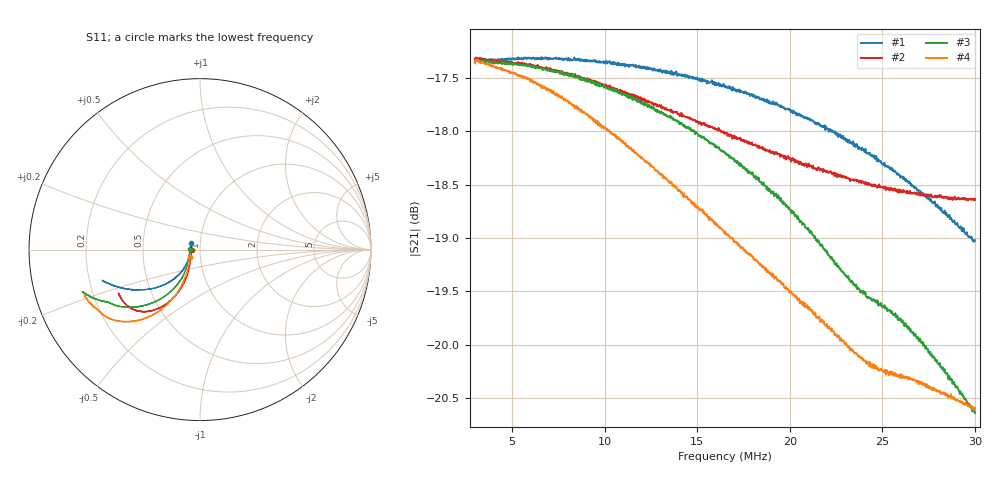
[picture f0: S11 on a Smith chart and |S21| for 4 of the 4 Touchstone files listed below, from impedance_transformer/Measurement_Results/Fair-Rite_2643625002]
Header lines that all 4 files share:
# HZ S RI R 50
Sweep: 3 MHz to 30 MHz
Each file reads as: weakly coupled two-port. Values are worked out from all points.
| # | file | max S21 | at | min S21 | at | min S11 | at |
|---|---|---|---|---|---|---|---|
| 1 | 2643625002_3p21s_2400ohm.s2p | -17.31 dB | 5.325 MHz | -19.0 dB | 29.95 MHz | -24.9 dB | 3.925 MHz |
| 2 | 2643625002_3p21s_2400ohm_100pF_on_primary.s2p | -17.31 dB | 3.026 MHz | -18.6 dB | 29.63 MHz | -26.2 dB | 3 MHz |
| 3 | 2643625002_3p21s_2400ohm_in_housing.s2p | -17.33 dB | 3.159 MHz | -20.6 dB | 30 MHz | -24.7 dB | 3 MHz |
| 4 | 2643625002_3p21s_2400ohm_in_housing_100pF.s2p | -17.33 dB | 3.159 MHz | -20.6 dB | 29.89 MHz | -22.7 dB | 3 MHz |
